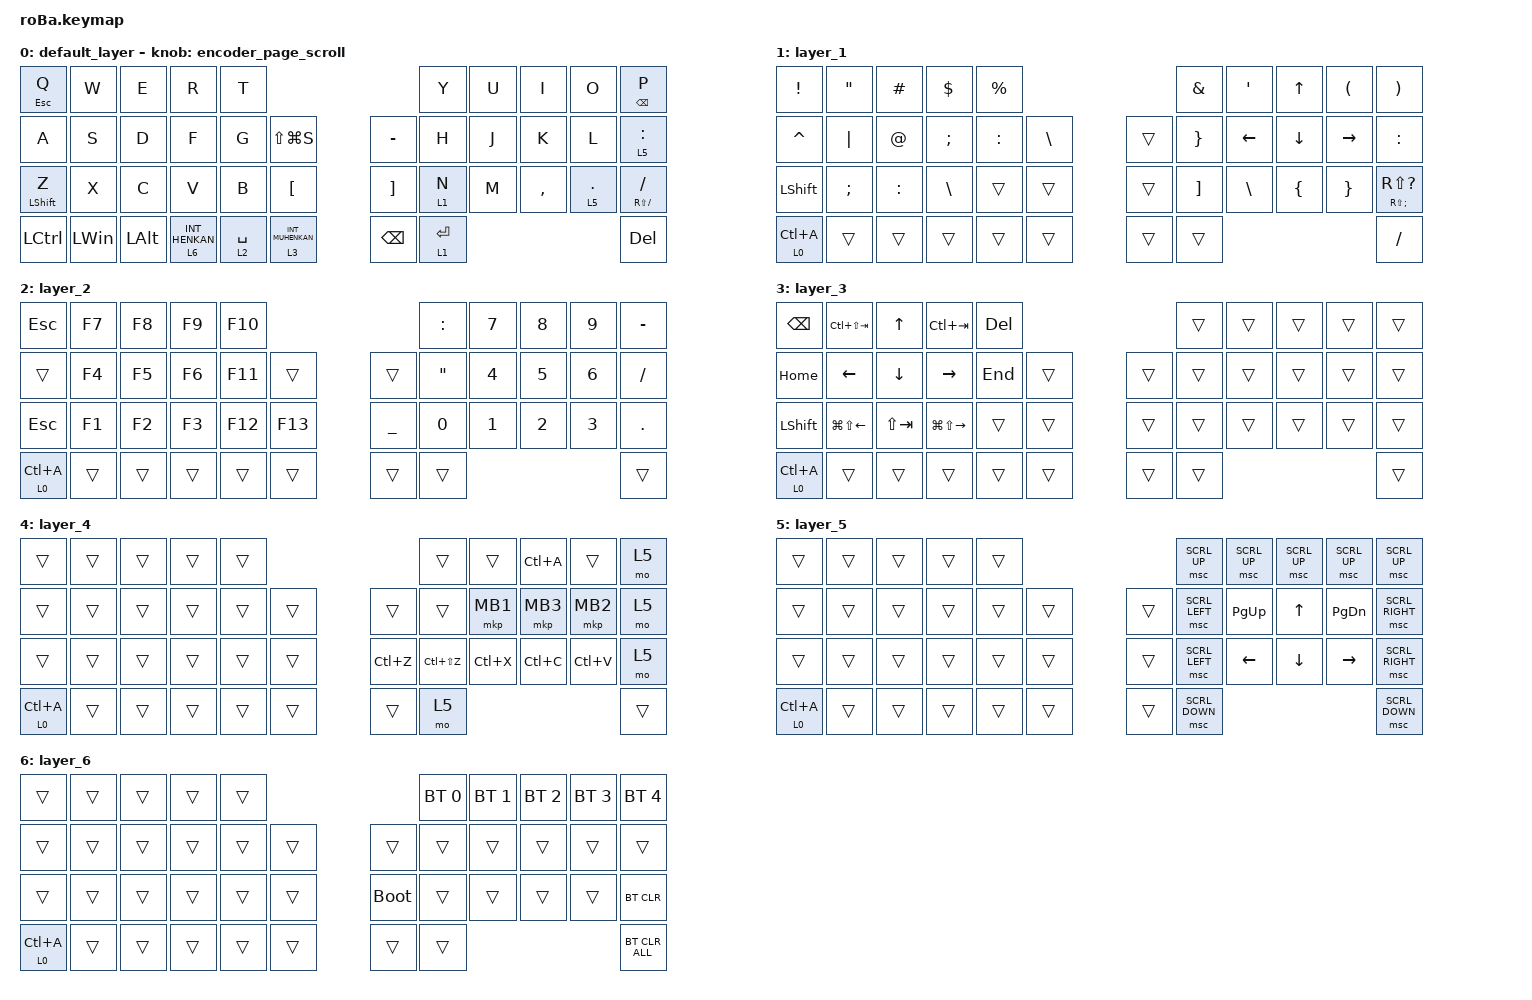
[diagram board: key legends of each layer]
// OS設定を日本語キーボードのまま使用するための変換定義

#define JP_DQUOTE       AT                // "
#define JP_AMPERSAND    CARET             // &
#define JP_QUOTE        AMPERSAND         // '
#define JP_EQUAL        UNDER             // =
#define JP_CARET        EQUAL             // ^
#define JP_YEN          0x89              // ¥
#define JP_PLUS         COLON             // +
#define JP_TILDE        PLUS              // ~
#define JP_PIPE         LS(0x89)          // |
#define JP_AT           LEFT_BRACKET      // @
#define JP_COLON        SINGLE_QUOTE      // :
#define JP_ASTERISK     DOUBLE_QUOTES     // *
#define JP_BACKQUOTE    LEFT_BRACE        // `
#define JP_UNDERSCORE   LS(0x87)          // _
#define JP_LBRACKET     RIGHT_BRACKET     // [
#define JP_RBRACKET     BACKSLASH         // ]
#define JP_LPAREN       ASTERISK          // (
#define JP_RPAREN       LEFT_PARENTHESIS  // )
#define JP_LBRACE       RIGHT_BRACE       // {
#define JP_RBRACE       PIPE              // }
#define JP_KANA         LANGUAGE_1        // かな
#define JP_EISU         LANGUAGE_2        // 英数
#define JP_HANZEN       GRAVE             // 半角/全角

#include <behaviors.dtsi>
#include <dt-bindings/zmk/bt.h>
#include <dt-bindings/zmk/keys.h>
#include <dt-bindings/zmk/pointing.h>

#define MOUSE 4
#define SCROLL 5
#define NUM 6

&mt {
    flavor = "balanced";
    quick-tap-ms = <0>;
};

&trackball {
    automouse-layer = <4>;
    scroll-layers = <5>;
};

/ {
    combos {
        compatible = "zmk,combos";

        tab {
            bindings = <&kp TAB>;
            key-positions = <11 12>;
        };

        shift_tab {
            bindings = <&kp LS(TAB)>;
            key-positions = <12 13>;
        };

        muhennkann {
            bindings = <&to_layer_0 INT_MUHENKAN>;
            key-positions = <11 10>;
        };

        double_quotation {
            bindings = <&kp JP_DQUOTE>;
            key-positions = <20 21>;
        };

        eq {
            bindings = <&kp JP_EQUAL>;
            key-positions = <24 25>;
        };
    };

    macros {
        to_layer_0: to_layer_0 {
            compatible = "zmk,behavior-macro-one-param";
            #binding-cells = <1>;
            bindings = <&to 0 &macro_param_1to1 &kp MACRO_PLACEHOLDER>;
            label = "TO_LAYER_0";
        };
    };

    behaviors {
        lt_to_layer_0: lt_to_layer_0 {
            compatible = "zmk,behavior-hold-tap";
            label = "LAYER_TAP_TO_0";
            bindings = <&mo>, <&to_layer_0>;

            #binding-cells = <2>;
            tapping-term-ms = <200>;
        };

        encoder_page_scroll: encoder_page_scroll {
            compatible = "zmk,behavior-sensor-rotate";
            label = "ENCODER_PAGE_SCROLL";
            #sensor-binding-cells = <0>;
            bindings = <&kp PAGE_UP>, <&kp PAGE_DOWN>;

            tap-ms = <100>;
        };
    };

    keymap {
        compatible = "zmk,keymap";

        default_layer {
            bindings = <
&mt ESCAPE Q      &kp W         &kp E         &kp R                        &kp T                                                              &kp Y        &kp U  &kp I      &kp O      &mt BACKSPACE P
&kp A             &kp S         &kp D         &kp F                        &kp G        &kp LS(LG(S))                      &kp MINUS          &kp H        &kp J  &kp K      &kp L      &lt 5 COLON
&mt LEFT_SHIFT Z  &kp X         &kp C         &kp V                        &kp B        &kp LEFT_BRACKET                   &kp RIGHT_BRACKET  &lt 1 N      &kp M  &kp COMMA  &lt 5 DOT  &mt RS(SLASH) SLASH
&kp LCTRL         &kp LEFT_WIN  &kp LEFT_ALT  &lt_to_layer_0 6 INT_HENKAN  &lt 2 SPACE  &lt_to_layer_0 3 INT_MUHENKAN      &kp BACKSPACE      &lt 1 ENTER                               &kp DELETE
            >;

            sensor-bindings = <&encoder_page_scroll>;
        };

        layer_1 {
            bindings = <
&kp EXCLAMATION  &kp DOUBLE_QUOTES  &kp HASH     &kp DOLLAR     &kp PERCENT                             &kp AMPERSAND    &kp SQT          &kp UP_ARROW    &kp LEFT_PARENTHESIS  &kp RIGHT_PARENTHESIS
&kp CARET        &kp PIPE           &kp AT_SIGN  &kp SEMICOLON  &kp COLON    &kp BACKSLASH      &trans  &kp JP_LBRACE    &kp LEFT         &kp DOWN_ARROW  &kp RIGHT_ARROW       &kp COLON
&kp LEFT_SHIFT   &kp SEMICOLON      &kp COLON    &kp BACKSLASH  &trans       &trans             &trans  &kp JP_LBRACKET  &kp JP_RBRACKET  &kp LEFT_BRACE  &kp RIGHT_BRACE       &mt RS(SEMICOLON) RS(QUESTION)
&lt 0 LC(A)      &trans             &trans       &trans         &trans       &trans             &trans  &trans                                                                  &kp SLASH
            >;
        };

        layer_2 {
            bindings = <
&kp ESCAPE   &kp F7  &kp F8  &kp F9  &kp F10                             &kp JP_PLUS      &kp NUMBER_7  &kp NUMBER_8  &kp NUMBER_9  &kp MINUS
&trans       &kp F4  &kp F5  &kp F6  &kp F11  &trans       &trans        &kp JP_ASTERISK  &kp NUMBER_4  &kp NUMBER_5  &kp NUMBER_6  &kp SLASH
&kp ESC      &kp F1  &kp F2  &kp F3  &kp F12  &kp F13      &kp JP_EQUAL  &kp NUMBER_0     &kp NUMBER_1  &kp NUMBER_2  &kp NUMBER_3  &kp PERIOD
&lt 0 LC(A)  &trans  &trans  &trans  &trans   &trans       &trans        &trans                                                     &trans
            >;
        };

        layer_3 {
            bindings = <
&kp BACKSPACE   &kp LC(LS(TAB))         &kp UP_ARROW    &kp LC(TAB)              &kp DELETE                      &trans  &trans  &trans  &trans  &trans
&kp HOME        &kp LEFT_ARROW          &kp DOWN_ARROW  &kp RIGHT_ARROW          &kp END     &trans      &trans  &trans  &trans  &trans  &trans  &trans
&kp LEFT_SHIFT  &kp LG(LS(LEFT_ARROW))  &kp LS(TAB)     &kp LG(LS(RIGHT_ARROW))  &trans      &trans      &trans  &trans  &trans  &trans  &trans  &trans
&lt 0 LC(A)     &trans                  &trans          &trans                   &trans      &trans      &trans  &trans                          &trans
            >;
        };

        layer_4 {
            bindings = <
&trans       &trans  &trans  &trans  &trans                         &trans         &trans     &kp LC(A)  &trans     &mo 5
&trans       &trans  &trans  &trans  &trans  &trans      &trans     &trans         &mkp MB1   &mkp MB3   &mkp MB2   &mo 5
&trans       &trans  &trans  &trans  &trans  &trans      &kp LC(Z)  &kp LC(LS(Z))  &kp LC(X)  &kp LC(C)  &kp LC(V)  &mo 5
&lt 0 LC(A)  &trans  &trans  &trans  &trans  &trans      &trans     &mo 5                                           &trans
            >;
        };

        layer_5 {
            bindings = <
&trans       &trans  &trans  &trans  &trans                      &msc SCRL_UP    &msc SCRL_UP  &msc SCRL_UP  &msc SCRL_UP   &msc SCRL_UP
&trans       &trans  &trans  &trans  &trans  &trans      &trans  &msc SCRL_LEFT  &kp PAGE_UP   &kp UP        &kp PAGE_DOWN  &msc SCRL_RIGHT
&trans       &trans  &trans  &trans  &trans  &trans      &trans  &msc SCRL_LEFT  &kp LEFT      &kp DOWN      &kp RIGHT      &msc SCRL_RIGHT
&lt 0 LC(A)  &trans  &trans  &trans  &trans  &trans      &trans  &msc SCRL_DOWN                                             &msc SCRL_DOWN
            >;
        };

        layer_6 {
            bindings = <
&trans       &trans  &trans  &trans  &trans                           &bt BT_SEL 0  &bt BT_SEL 1  &bt BT_SEL 2  &bt BT_SEL 3  &bt BT_SEL 4
&trans       &trans  &trans  &trans  &trans  &trans      &trans       &trans        &trans        &trans        &trans        &trans
&trans       &trans  &trans  &trans  &trans  &trans      &bootloader  &trans        &trans        &trans        &trans        &bt BT_CLR
&lt 0 LC(A)  &trans  &trans  &trans  &trans  &trans      &trans       &trans                                                  &bt BT_CLR_ALL
            >;
        };
    };
};
